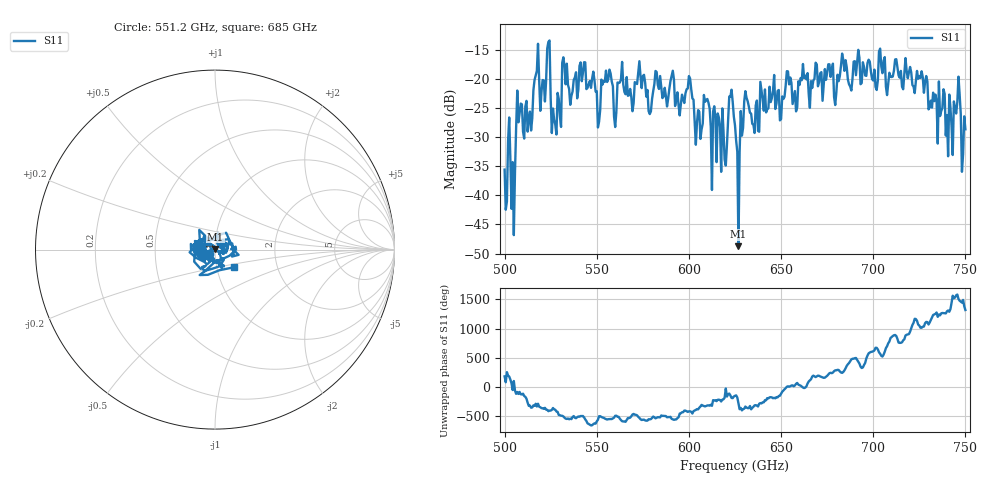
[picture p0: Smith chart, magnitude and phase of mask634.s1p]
!Created with skrf (http://scikit-rf.org).
# GHz S MA R 50.0
!freq magS11 angS11
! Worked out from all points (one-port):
!   401 points, 500 GHz to 750 GHz, reference 50 ohm
!   lowest |S11| = -48.7 dB at 626.9 GHz (marker M1), VSWR 1.01, Z = 50.1 + j0.348 ohm
!   |S11| at or under -10 dB: start of sweep to end of sweep
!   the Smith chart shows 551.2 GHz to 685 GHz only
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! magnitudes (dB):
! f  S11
! 500 GHz  -35.6
! 503.1 GHz  -33.7
! 504.4 GHz  -34.3
! 507.5 GHz  -27.4
! 513.8 GHz  -25.6
! 517.5 GHz  -18.6
! 520.6 GHz  -20.2
! 523.8 GHz  -13.6
! 526.9 GHz  -27.0
! 531.2 GHz  -17.2
! 542.5 GHz  -18.9
! 550.6 GHz  -28.3
! 562.5 GHz  -20.6
! 593.8 GHz  -22.3
! 600 GHz  -19.5
! 605 GHz  -25.3
! 609.4 GHz  -23.6
! 618.8 GHz  -28.9
! 623.1 GHz  -21.8
! 625 GHz  -28.0
! 626.9 GHz  -48.7
! 631.2 GHz  -23.2
! 656.2 GHz  -24.3
! 687.5 GHz  -21.3
! 718.8 GHz  -19.9
! 741.9 GHz  -24.9
! 746.2 GHz  -19.6
! 750 GHz  -28.6
